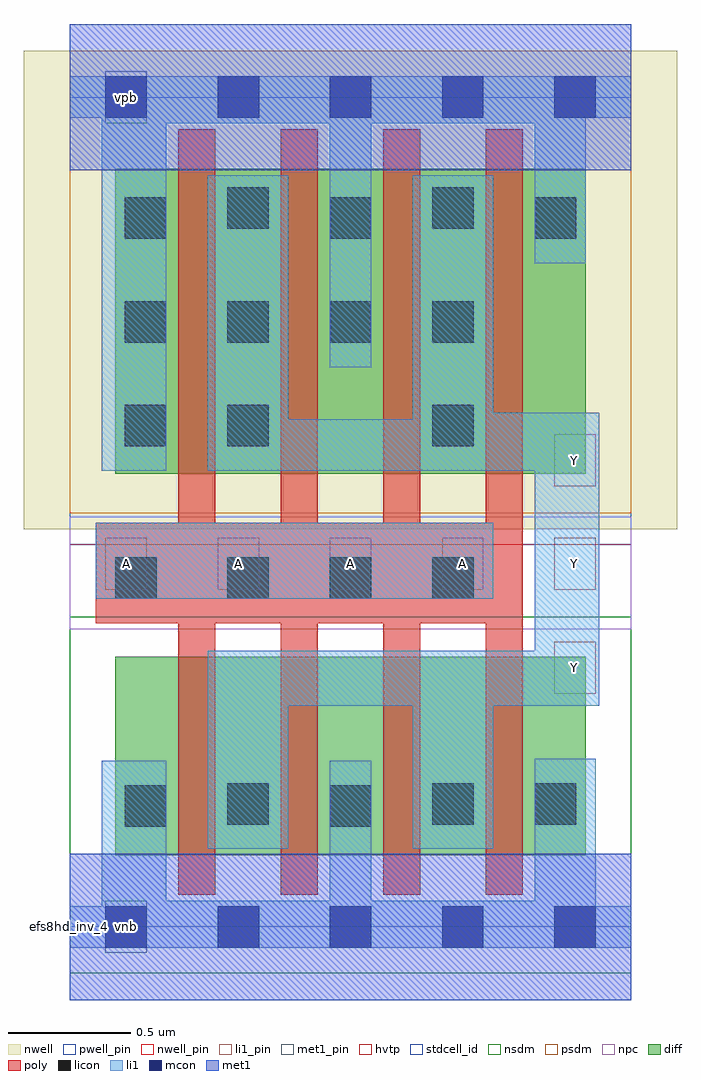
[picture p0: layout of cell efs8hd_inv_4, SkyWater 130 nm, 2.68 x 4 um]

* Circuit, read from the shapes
.subckt efs8hd_inv_4 A Y vgnd vnb vpb vpwr
XM1 Y A vgnd vnb sky130_fd_pr__nfet_01v8 w=0.812 l=0.15 m=4
XM2 Y A vpwr vpb sky130_fd_pr__pfet_01v8_hvt w=1.25 l=0.15 m=4
.ends

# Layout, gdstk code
import gdstk
lib = gdstk.Library(unit=1e-6, precision=1e-09)
def R(c, l, rs):  # rectangles x0, y0, x1, y1
    for r in rs: c.add(gdstk.rectangle(r[:2], r[2:], *l))
def A(c, l, x, y, w, h, nx, ny, dx, dy):  # array of equal rectangles
    R(c, l, [(x+i*dx, y+j*dy, x+i*dx+w, y+j*dy+h) for i in range(nx) for j in range(ny)])
def P(c, l, *ps):  # polygons
    for p in ps: c.add(gdstk.Polygon(p, *l))
nwell_pin = (64, 16)
nwell = (64, 20)
diff = (65, 20)
poly = (66, 20)
licon = (66, 44)
li1_pin = (67, 16)
li1 = (67, 20)
mcon = (67, 44)
met1_pin = (68, 16)
met1 = (68, 20)
hvtp = (78, 44)
stdcell_id = (81, 4)
nsdm = (93, 44)
psdm = (94, 20)
npc = (95, 20)
pwell_pin = (122, 16)

efs8hd_inv_4 = lib.new_cell('efs8hd_inv_4')
R(efs8hd_inv_4, nwell_pin, [(0.145,3.294,0.315,3.506)])
R(efs8hd_inv_4, nwell, [(-0.19,1.63,2.49,3.59)])
R(efs8hd_inv_4, diff, [(0.185,0.294,2.115,1.106), (0.185,1.856,2.115,3.106)])
P(efs8hd_inv_4, poly, [(1.705,3.269),(1.705,1.656),(1.435,1.656),(1.435,3.269),(1.285,3.269),(1.285,1.656),(1.015,1.656),(1.015,3.269),(0.865,3.269),(0.865,1.656),(0.595,1.656),(0.595,3.269),(0.445,3.269),(0.445,1.656),(0.105,1.656),(0.105,1.244),(0.445,1.244),(0.445,0.131),(0.595,0.131),(0.595,1.244),(0.865,1.244),(0.865,0.131),(1.015,0.131),(1.015,1.244),(1.285,1.244),(1.285,0.131),(1.435,0.131),(1.435,1.244),(1.705,1.244),(1.705,0.131),(1.855,0.131),(1.855,3.269)])
A(efs8hd_inv_4, licon, 0.645, 1.344, 0.17, 0.17, 3, 1, 0.42, 0)
A(efs8hd_inv_4, licon, 0.225, 2.394, 0.17, 0.17, 4, 1, 0.42, 0)
A(efs8hd_inv_4, licon, 0.225, 2.819, 0.17, 0.17, 3, 1, 0.84, 0)
R(efs8hd_inv_4, licon, [(0.225,0.411,0.395,0.581), (1.065,0.411,1.235,0.581), (1.905,0.418,2.075,0.588), (0.645,0.419,0.815,0.589), (1.485,0.419,1.655,0.589), (0.185,1.344,0.355,1.514), (0.225,1.969,0.395,2.139), (0.645,1.969,0.815,2.139), (1.485,1.969,1.655,2.139), (0.645,2.861,0.815,3.031), (1.485,2.861,1.655,3.031)])
A(efs8hd_inv_4, li1_pin, 0.145, 1.381, 0.17, 0.213, 5, 1, 0.46, 0)
R(efs8hd_inv_4, li1_pin, [(1.985,0.956,2.155,1.169), (1.985,1.806,2.155,2.019)])
R(efs8hd_inv_4, li1, [(0.105,1.344,1.735,1.656)])
P(efs8hd_inv_4, li1, [(1.905,0.688),(1.905,0.106),(1.235,0.106),(1.235,0.681),(1.065,0.681),(1.065,0.106),(0.395,0.106),(0.395,0.681),(0.13,0.681),(0.13,0.085),(0,0.085),(0,-0.085),(2.3,-0.085),(2.3,0.085),(2.155,0.085),(2.155,0.688)],
  [(1.405,3.081),(1.405,2.081),(0.895,2.081),(0.895,3.081),(0.565,3.081),(0.565,1.869),(1.905,1.869),(1.905,1.131),(0.565,1.131),(0.565,0.319),(0.895,0.319),(0.895,0.906),(1.405,0.906),(1.405,0.319),(1.735,0.319),(1.735,0.906),(2.17,0.906),(2.17,2.106),(1.735,2.106),(1.735,3.081)],
  [(0,3.485),(0,3.315),(0.13,3.315),(0.13,1.869),(0.395,1.869),(0.395,3.294),(1.065,3.294),(1.065,2.294),(1.235,2.294),(1.235,3.294),(1.905,3.294),(1.905,2.719),(2.115,2.719),(2.115,3.315),(2.3,3.315),(2.3,3.485)])
R(efs8hd_inv_4, mcon, [(0.145,-0.085,0.315,0.085), (0.145,-0.085,0.315,0.085), (0.145,-0.085,0.315,0.085), (0.145,-0.085,0.315,0.085), (0.145,-0.085,0.315,0.085), (0.145,-0.085,0.315,0.085), (0.145,-0.085,0.315,0.085), (0.145,-0.085,0.315,0.085), (0.145,-0.085,0.315,0.085), (0.145,-0.085,0.315,0.085), (0.145,-0.085,0.315,0.085), (0.145,-0.085,0.315,0.085), (0.145,-0.085,0.315,0.085), (0.145,-0.085,0.315,0.085), (0.145,-0.085,0.315,0.085), (0.145,-0.085,0.315,0.085), (0.145,-0.085,0.315,0.085), (0.145,-0.085,0.315,0.085), (0.145,-0.085,0.315,0.085), (0.145,-0.085,0.315,0.085), (0.145,-0.085,0.315,0.085), (0.145,-0.085,0.315,0.085), (0.145,-0.085,0.315,0.085), (0.145,-0.085,0.315,0.085), (0.145,-0.085,0.315,0.085), (0.145,-0.085,0.315,0.085), (0.145,-0.085,0.315,0.085), (0.145,-0.085,0.315,0.085), (0.145,-0.085,0.315,0.085), (0.145,-0.085,0.315,0.085), (0.145,-0.085,0.315,0.085), (0.145,-0.085,0.315,0.085), (0.145,-0.085,0.315,0.085), (0.145,-0.085,0.315,0.085), (0.145,-0.085,0.315,0.085), (0.145,-0.085,0.315,0.085), (0.145,-0.085,0.315,0.085), (0.145,-0.085,0.315,0.085), (0.145,-0.085,0.315,0.085), (0.145,-0.085,0.315,0.085), (0.145,-0.085,0.315,0.085), (0.145,-0.085,0.315,0.085), (0.145,-0.085,0.315,0.085), (0.145,-0.085,0.315,0.085), (0.145,-0.085,0.315,0.085), (0.145,-0.085,0.315,0.085), (0.145,-0.085,0.315,0.085), (0.145,-0.085,0.315,0.085), (0.145,-0.085,0.315,0.085), (0.145,-0.085,0.315,0.085), (0.145,-0.085,0.315,0.085), (0.145,-0.085,0.315,0.085), (0.145,-0.085,0.315,0.085), (0.145,-0.085,0.315,0.085), (0.145,-0.085,0.315,0.085), (0.145,-0.085,0.315,0.085), (0.145,-0.085,0.315,0.085), (0.145,-0.085,0.315,0.085), (0.145,-0.085,0.315,0.085), (0.145,-0.085,0.315,0.085), (0.145,-0.085,0.315,0.085), (0.145,-0.085,0.315,0.085), (0.145,-0.085,0.315,0.085), (0.145,-0.085,0.315,0.085), (0.145,-0.085,0.315,0.085), (0.145,-0.085,0.315,0.085), (0.145,-0.085,0.315,0.085), (0.145,-0.085,0.315,0.085), (0.145,-0.085,0.315,0.085), (0.145,-0.085,0.315,0.085), (0.145,-0.085,0.315,0.085), (0.145,-0.085,0.315,0.085), (0.145,-0.085,0.315,0.085), (0.145,-0.085,0.315,0.085), (0.145,-0.085,0.315,0.085), (0.145,-0.085,0.315,0.085), (0.145,-0.085,0.315,0.085), (0.145,-0.085,0.315,0.085), (0.145,-0.085,0.315,0.085), (0.145,-0.085,0.315,0.085), (0.145,-0.085,0.315,0.085), (0.145,-0.085,0.315,0.085), (0.145,-0.085,0.315,0.085), (0.145,-0.085,0.315,0.085), (0.145,-0.085,0.315,0.085), (0.145,-0.085,0.315,0.085), (0.145,-0.085,0.315,0.085), (0.145,-0.085,0.315,0.085), (0.145,-0.085,0.315,0.085), (0.145,-0.085,0.315,0.085), (0.145,-0.085,0.315,0.085), (0.145,-0.085,0.315,0.085), (0.145,-0.085,0.315,0.085), (0.145,-0.085,0.315,0.085), (0.145,-0.085,0.315,0.085), (0.145,-0.085,0.315,0.085), (0.145,-0.085,0.315,0.085), (0.145,-0.085,0.315,0.085), (0.145,-0.085,0.315,0.085), (0.145,-0.085,0.315,0.085), (0.145,-0.085,0.315,0.085), (0.145,-0.085,0.315,0.085), (0.145,-0.085,0.315,0.085), (0.145,-0.085,0.315,0.085), (0.145,-0.085,0.315,0.085), (0.145,-0.085,0.315,0.085), (0.145,-0.085,0.315,0.085), (0.145,-0.085,0.315,0.085), (0.145,-0.085,0.315,0.085), (0.605,-0.085,0.775,0.085), (0.605,-0.085,0.775,0.085), (0.605,-0.085,0.775,0.085), (0.605,-0.085,0.775,0.085), (0.605,-0.085,0.775,0.085), (0.605,-0.085,0.775,0.085), (0.605,-0.085,0.775,0.085), (0.605,-0.085,0.775,0.085), (0.605,-0.085,0.775,0.085), (0.605,-0.085,0.775,0.085), (0.605,-0.085,0.775,0.085), (0.605,-0.085,0.775,0.085), (0.605,-0.085,0.775,0.085), (0.605,-0.085,0.775,0.085), (0.605,-0.085,0.775,0.085), (0.605,-0.085,0.775,0.085), (0.605,-0.085,0.775,0.085), (0.605,-0.085,0.775,0.085), (0.605,-0.085,0.775,0.085), (0.605,-0.085,0.775,0.085), (0.605,-0.085,0.775,0.085), (0.605,-0.085,0.775,0.085), (0.605,-0.085,0.775,0.085), (0.605,-0.085,0.775,0.085), (0.605,-0.085,0.775,0.085), (0.605,-0.085,0.775,0.085), (0.605,-0.085,0.775,0.085), (0.605,-0.085,0.775,0.085), (0.605,-0.085,0.775,0.085), (0.605,-0.085,0.775,0.085), (0.605,-0.085,0.775,0.085), (0.605,-0.085,0.775,0.085), (0.605,-0.085,0.775,0.085), (0.605,-0.085,0.775,0.085), (0.605,-0.085,0.775,0.085), (0.605,-0.085,0.775,0.085), (0.605,-0.085,0.775,0.085), (0.605,-0.085,0.775,0.085), (0.605,-0.085,0.775,0.085), (0.605,-0.085,0.775,0.085), (0.605,-0.085,0.775,0.085), (0.605,-0.085,0.775,0.085), (0.605,-0.085,0.775,0.085), (0.605,-0.085,0.775,0.085), (0.605,-0.085,0.775,0.085), (0.605,-0.085,0.775,0.085), (0.605,-0.085,0.775,0.085), (0.605,-0.085,0.775,0.085), (0.605,-0.085,0.775,0.085), (0.605,-0.085,0.775,0.085), (0.605,-0.085,0.775,0.085), (0.605,-0.085,0.775,0.085), (0.605,-0.085,0.775,0.085), (0.605,-0.085,0.775,0.085), (0.605,-0.085,0.775,0.085), (0.605,-0.085,0.775,0.085), (0.605,-0.085,0.775,0.085), (0.605,-0.085,0.775,0.085), (0.605,-0.085,0.775,0.085), (0.605,-0.085,0.775,0.085), (0.605,-0.085,0.775,0.085), (0.605,-0.085,0.775,0.085), (0.605,-0.085,0.775,0.085), (0.605,-0.085,0.775,0.085), (0.605,-0.085,0.775,0.085), (0.605,-0.085,0.775,0.085), (0.605,-0.085,0.775,0.085), (0.605,-0.085,0.775,0.085), (0.605,-0.085,0.775,0.085), (0.605,-0.085,0.775,0.085), (0.605,-0.085,0.775,0.085), (0.605,-0.085,0.775,0.085), (0.605,-0.085,0.775,0.085), (0.605,-0.085,0.775,0.085), (0.605,-0.085,0.775,0.085), (0.605,-0.085,0.775,0.085), (0.605,-0.085,0.775,0.085), (0.605,-0.085,0.775,0.085), (0.605,-0.085,0.775,0.085), (0.605,-0.085,0.775,0.085), (0.605,-0.085,0.775,0.085), (0.605,-0.085,0.775,0.085), (0.605,-0.085,0.775,0.085), (0.605,-0.085,0.775,0.085), (0.605,-0.085,0.775,0.085), (0.605,-0.085,0.775,0.085), (0.605,-0.085,0.775,0.085), (0.605,-0.085,0.775,0.085), (0.605,-0.085,0.775,0.085), (0.605,-0.085,0.775,0.085), (0.605,-0.085,0.775,0.085), (0.605,-0.085,0.775,0.085), (0.605,-0.085,0.775,0.085), (0.605,-0.085,0.775,0.085), (0.605,-0.085,0.775,0.085), (0.605,-0.085,0.775,0.085), (0.605,-0.085,0.775,0.085), (0.605,-0.085,0.775,0.085), (0.605,-0.085,0.775,0.085), (0.605,-0.085,0.775,0.085), (0.605,-0.085,0.775,0.085), (0.605,-0.085,0.775,0.085), (0.605,-0.085,0.775,0.085), (0.605,-0.085,0.775,0.085), (0.605,-0.085,0.775,0.085), (0.605,-0.085,0.775,0.085), (0.605,-0.085,0.775,0.085), (0.605,-0.085,0.775,0.085), (0.605,-0.085,0.775,0.085), (1.065,-0.085,1.235,0.085), (1.065,-0.085,1.235,0.085), (1.065,-0.085,1.235,0.085), (1.065,-0.085,1.235,0.085), (1.065,-0.085,1.235,0.085), (1.065,-0.085,1.235,0.085), (1.065,-0.085,1.235,0.085), (1.065,-0.085,1.235,0.085), (1.065,-0.085,1.235,0.085), (1.065,-0.085,1.235,0.085), (1.065,-0.085,1.235,0.085), (1.065,-0.085,1.235,0.085), (1.065,-0.085,1.235,0.085), (1.065,-0.085,1.235,0.085), (1.065,-0.085,1.235,0.085), (1.065,-0.085,1.235,0.085), (1.065,-0.085,1.235,0.085), (1.065,-0.085,1.235,0.085), (1.065,-0.085,1.235,0.085), (1.065,-0.085,1.235,0.085), (1.065,-0.085,1.235,0.085), (1.065,-0.085,1.235,0.085), (1.065,-0.085,1.235,0.085), (1.065,-0.085,1.235,0.085), (1.065,-0.085,1.235,0.085), (1.065,-0.085,1.235,0.085), (1.065,-0.085,1.235,0.085), (1.065,-0.085,1.235,0.085), (1.065,-0.085,1.235,0.085), (1.065,-0.085,1.235,0.085), (1.065,-0.085,1.235,0.085), (1.065,-0.085,1.235,0.085), (1.065,-0.085,1.235,0.085), (1.065,-0.085,1.235,0.085), (1.065,-0.085,1.235,0.085), (1.065,-0.085,1.235,0.085), (1.065,-0.085,1.235,0.085), (1.065,-0.085,1.235,0.085), (1.065,-0.085,1.235,0.085), (1.065,-0.085,1.235,0.085), (1.065,-0.085,1.235,0.085), (1.065,-0.085,1.235,0.085), (1.065,-0.085,1.235,0.085), (1.065,-0.085,1.235,0.085), (1.065,-0.085,1.235,0.085), (1.065,-0.085,1.235,0.085), (1.065,-0.085,1.235,0.085), (1.065,-0.085,1.235,0.085), (1.065,-0.085,1.235,0.085), (1.065,-0.085,1.235,0.085), (1.065,-0.085,1.235,0.085), (1.065,-0.085,1.235,0.085), (1.065,-0.085,1.235,0.085), (1.065,-0.085,1.235,0.085), (1.065,-0.085,1.235,0.085), (1.065,-0.085,1.235,0.085), (1.065,-0.085,1.235,0.085), (1.065,-0.085,1.235,0.085), (1.065,-0.085,1.235,0.085), (1.065,-0.085,1.235,0.085), (1.065,-0.085,1.235,0.085), (1.065,-0.085,1.235,0.085), (1.065,-0.085,1.235,0.085), (1.065,-0.085,1.235,0.085), (1.065,-0.085,1.235,0.085), (1.065,-0.085,1.235,0.085), (1.065,-0.085,1.235,0.085), (1.065,-0.085,1.235,0.085), (1.065,-0.085,1.235,0.085), (1.065,-0.085,1.235,0.085), (1.065,-0.085,1.235,0.085), (1.065,-0.085,1.235,0.085), (1.065,-0.085,1.235,0.085), (1.065,-0.085,1.235,0.085), (1.065,-0.085,1.235,0.085), (1.065,-0.085,1.235,0.085), (1.065,-0.085,1.235,0.085), (1.065,-0.085,1.235,0.085), (1.065,-0.085,1.235,0.085), (1.065,-0.085,1.235,0.085), (1.065,-0.085,1.235,0.085), (1.065,-0.085,1.235,0.085), (1.065,-0.085,1.235,0.085), (1.065,-0.085,1.235,0.085), (1.065,-0.085,1.235,0.085), (1.065,-0.085,1.235,0.085), (1.065,-0.085,1.235,0.085), (1.065,-0.085,1.235,0.085), (1.065,-0.085,1.235,0.085), (1.065,-0.085,1.235,0.085), (1.065,-0.085,1.235,0.085), (1.065,-0.085,1.235,0.085), (1.065,-0.085,1.235,0.085), (1.065,-0.085,1.235,0.085), (1.065,-0.085,1.235,0.085), (1.065,-0.085,1.235,0.085), (1.065,-0.085,1.235,0.085), (1.065,-0.085,1.235,0.085), (1.065,-0.085,1.235,0.085), (1.065,-0.085,1.235,0.085), (1.065,-0.085,1.235,0.085), (1.065,-0.085,1.235,0.085), (1.065,-0.085,1.235,0.085), (1.065,-0.085,1.235,0.085), (1.065,-0.085,1.235,0.085), (1.065,-0.085,1.235,0.085), (1.065,-0.085,1.235,0.085), (1.065,-0.085,1.235,0.085), (1.065,-0.085,1.235,0.085), (1.525,-0.085,1.695,0.085), (1.525,-0.085,1.695,0.085), (1.525,-0.085,1.695,0.085), (1.525,-0.085,1.695,0.085), (1.525,-0.085,1.695,0.085), (1.525,-0.085,1.695,0.085), (1.525,-0.085,1.695,0.085), (1.525,-0.085,1.695,0.085), (1.525,-0.085,1.695,0.085), (1.525,-0.085,1.695,0.085), (1.525,-0.085,1.695,0.085), (1.525,-0.085,1.695,0.085), (1.525,-0.085,1.695,0.085), (1.525,-0.085,1.695,0.085), (1.525,-0.085,1.695,0.085), (1.525,-0.085,1.695,0.085), (1.525,-0.085,1.695,0.085), (1.525,-0.085,1.695,0.085), (1.525,-0.085,1.695,0.085), (1.525,-0.085,1.695,0.085), (1.525,-0.085,1.695,0.085), (1.525,-0.085,1.695,0.085), (1.525,-0.085,1.695,0.085), (1.525,-0.085,1.695,0.085), (1.525,-0.085,1.695,0.085), (1.525,-0.085,1.695,0.085), (1.525,-0.085,1.695,0.085), (1.525,-0.085,1.695,0.085), (1.525,-0.085,1.695,0.085), (1.525,-0.085,1.695,0.085), (1.525,-0.085,1.695,0.085), (1.525,-0.085,1.695,0.085), (1.525,-0.085,1.695,0.085), (1.525,-0.085,1.695,0.085), (1.525,-0.085,1.695,0.085), (1.525,-0.085,1.695,0.085), (1.525,-0.085,1.695,0.085), (1.525,-0.085,1.695,0.085), (1.525,-0.085,1.695,0.085), (1.525,-0.085,1.695,0.085), (1.525,-0.085,1.695,0.085), (1.525,-0.085,1.695,0.085), (1.525,-0.085,1.695,0.085), (1.525,-0.085,1.695,0.085), (1.525,-0.085,1.695,0.085), (1.525,-0.085,1.695,0.085), (1.525,-0.085,1.695,0.085), (1.525,-0.085,1.695,0.085), (1.525,-0.085,1.695,0.085), (1.525,-0.085,1.695,0.085), (1.525,-0.085,1.695,0.085), (1.525,-0.085,1.695,0.085), (1.525,-0.085,1.695,0.085), (1.525,-0.085,1.695,0.085), (1.525,-0.085,1.695,0.085), (1.525,-0.085,1.695,0.085), (1.525,-0.085,1.695,0.085), (1.525,-0.085,1.695,0.085), (1.525,-0.085,1.695,0.085), (1.525,-0.085,1.695,0.085), (1.525,-0.085,1.695,0.085), (1.525,-0.085,1.695,0.085), (1.525,-0.085,1.695,0.085), (1.525,-0.085,1.695,0.085), (1.525,-0.085,1.695,0.085), (1.525,-0.085,1.695,0.085), (1.525,-0.085,1.695,0.085), (1.525,-0.085,1.695,0.085), (1.525,-0.085,1.695,0.085), (1.525,-0.085,1.695,0.085), (1.525,-0.085,1.695,0.085), (1.525,-0.085,1.695,0.085), (1.525,-0.085,1.695,0.085), (1.525,-0.085,1.695,0.085), (1.525,-0.085,1.695,0.085), (1.525,-0.085,1.695,0.085), (1.525,-0.085,1.695,0.085), (1.525,-0.085,1.695,0.085), (1.525,-0.085,1.695,0.085), (1.525,-0.085,1.695,0.085), (1.525,-0.085,1.695,0.085), (1.525,-0.085,1.695,0.085), (1.525,-0.085,1.695,0.085), (1.525,-0.085,1.695,0.085), (1.525,-0.085,1.695,0.085), (1.525,-0.085,1.695,0.085), (1.525,-0.085,1.695,0.085), (1.525,-0.085,1.695,0.085), (1.525,-0.085,1.695,0.085), (1.525,-0.085,1.695,0.085), (1.525,-0.085,1.695,0.085), (1.525,-0.085,1.695,0.085), (1.525,-0.085,1.695,0.085), (1.525,-0.085,1.695,0.085), (1.525,-0.085,1.695,0.085), (1.525,-0.085,1.695,0.085), (1.525,-0.085,1.695,0.085), (1.525,-0.085,1.695,0.085), (1.525,-0.085,1.695,0.085), (1.525,-0.085,1.695,0.085), (1.525,-0.085,1.695,0.085), (1.525,-0.085,1.695,0.085), (1.525,-0.085,1.695,0.085), (1.525,-0.085,1.695,0.085), (1.525,-0.085,1.695,0.085), (1.525,-0.085,1.695,0.085), (1.525,-0.085,1.695,0.085), (1.525,-0.085,1.695,0.085), (1.525,-0.085,1.695,0.085), (1.985,-0.085,2.155,0.085), (1.985,-0.085,2.155,0.085), (1.985,-0.085,2.155,0.085), (1.985,-0.085,2.155,0.085), (1.985,-0.085,2.155,0.085), (1.985,-0.085,2.155,0.085), (1.985,-0.085,2.155,0.085), (1.985,-0.085,2.155,0.085), (1.985,-0.085,2.155,0.085), (1.985,-0.085,2.155,0.085), (1.985,-0.085,2.155,0.085), (1.985,-0.085,2.155,0.085), (1.985,-0.085,2.155,0.085), (1.985,-0.085,2.155,0.085), (1.985,-0.085,2.155,0.085), (1.985,-0.085,2.155,0.085), (1.985,-0.085,2.155,0.085), (1.985,-0.085,2.155,0.085), (1.985,-0.085,2.155,0.085), (1.985,-0.085,2.155,0.085), (1.985,-0.085,2.155,0.085), (1.985,-0.085,2.155,0.085), (1.985,-0.085,2.155,0.085), (1.985,-0.085,2.155,0.085), (1.985,-0.085,2.155,0.085), (1.985,-0.085,2.155,0.085), (1.985,-0.085,2.155,0.085), (1.985,-0.085,2.155,0.085), (1.985,-0.085,2.155,0.085), (1.985,-0.085,2.155,0.085), (1.985,-0.085,2.155,0.085), (1.985,-0.085,2.155,0.085), (1.985,-0.085,2.155,0.085), (1.985,-0.085,2.155,0.085), (1.985,-0.085,2.155,0.085), (1.985,-0.085,2.155,0.085), (1.985,-0.085,2.155,0.085), (1.985,-0.085,2.155,0.085), (1.985,-0.085,2.155,0.085), (1.985,-0.085,2.155,0.085), (1.985,-0.085,2.155,0.085), (1.985,-0.085,2.155,0.085), (1.985,-0.085,2.155,0.085), (1.985,-0.085,2.155,0.085), (1.985,-0.085,2.155,0.085), (1.985,-0.085,2.155,0.085), (1.985,-0.085,2.155,0.085), (1.985,-0.085,2.155,0.085), (1.985,-0.085,2.155,0.085), (1.985,-0.085,2.155,0.085), (1.985,-0.085,2.155,0.085), (1.985,-0.085,2.155,0.085), (1.985,-0.085,2.155,0.085), (1.985,-0.085,2.155,0.085), (1.985,-0.085,2.155,0.085), (1.985,-0.085,2.155,0.085), (1.985,-0.085,2.155,0.085), (1.985,-0.085,2.155,0.085), (1.985,-0.085,2.155,0.085), (1.985,-0.085,2.155,0.085), (1.985,-0.085,2.155,0.085), (1.985,-0.085,2.155,0.085), (1.985,-0.085,2.155,0.085), (1.985,-0.085,2.155,0.085), (1.985,-0.085,2.155,0.085), (1.985,-0.085,2.155,0.085), (1.985,-0.085,2.155,0.085), (1.985,-0.085,2.155,0.085), (1.985,-0.085,2.155,0.085), (1.985,-0.085,2.155,0.085), (1.985,-0.085,2.155,0.085), (1.985,-0.085,2.155,0.085), (1.985,-0.085,2.155,0.085), (1.985,-0.085,2.155,0.085), (1.985,-0.085,2.155,0.085), (1.985,-0.085,2.155,0.085), (1.985,-0.085,2.155,0.085), (1.985,-0.085,2.155,0.085), (1.985,-0.085,2.155,0.085), (1.985,-0.085,2.155,0.085), (1.985,-0.085,2.155,0.085), (1.985,-0.085,2.155,0.085), (1.985,-0.085,2.155,0.085), (1.985,-0.085,2.155,0.085), (1.985,-0.085,2.155,0.085), (1.985,-0.085,2.155,0.085), (1.985,-0.085,2.155,0.085), (1.985,-0.085,2.155,0.085), (1.985,-0.085,2.155,0.085), (1.985,-0.085,2.155,0.085), (1.985,-0.085,2.155,0.085), (1.985,-0.085,2.155,0.085), (1.985,-0.085,2.155,0.085), (1.985,-0.085,2.155,0.085), (1.985,-0.085,2.155,0.085), (1.985,-0.085,2.155,0.085), (1.985,-0.085,2.155,0.085), (1.985,-0.085,2.155,0.085), (1.985,-0.085,2.155,0.085), (1.985,-0.085,2.155,0.085), (1.985,-0.085,2.155,0.085), (1.985,-0.085,2.155,0.085), (1.985,-0.085,2.155,0.085), (1.985,-0.085,2.155,0.085), (1.985,-0.085,2.155,0.085), (1.985,-0.085,2.155,0.085), (1.985,-0.085,2.155,0.085), (1.985,-0.085,2.155,0.085), (1.985,-0.085,2.155,0.085), (0.145,3.315,0.315,3.485), (0.145,3.315,0.315,3.485), (0.145,3.315,0.315,3.485), (0.145,3.315,0.315,3.485), (0.145,3.315,0.315,3.485), (0.145,3.315,0.315,3.485), (0.145,3.315,0.315,3.485), (0.145,3.315,0.315,3.485), (0.145,3.315,0.315,3.485), (0.145,3.315,0.315,3.485), (0.145,3.315,0.315,3.485), (0.145,3.315,0.315,3.485), (0.145,3.315,0.315,3.485), (0.145,3.315,0.315,3.485), (0.145,3.315,0.315,3.485), (0.145,3.315,0.315,3.485), (0.145,3.315,0.315,3.485), (0.145,3.315,0.315,3.485), (0.145,3.315,0.315,3.485), (0.145,3.315,0.315,3.485), (0.145,3.315,0.315,3.485), (0.145,3.315,0.315,3.485), (0.145,3.315,0.315,3.485), (0.145,3.315,0.315,3.485), (0.145,3.315,0.315,3.485), (0.145,3.315,0.315,3.485), (0.145,3.315,0.315,3.485), (0.145,3.315,0.315,3.485), (0.145,3.315,0.315,3.485), (0.145,3.315,0.315,3.485), (0.145,3.315,0.315,3.485), (0.145,3.315,0.315,3.485), (0.145,3.315,0.315,3.485), (0.145,3.315,0.315,3.485), (0.145,3.315,0.315,3.485), (0.145,3.315,0.315,3.485), (0.145,3.315,0.315,3.485), (0.145,3.315,0.315,3.485), (0.145,3.315,0.315,3.485), (0.145,3.315,0.315,3.485), (0.145,3.315,0.315,3.485), (0.145,3.315,0.315,3.485), (0.145,3.315,0.315,3.485), (0.145,3.315,0.315,3.485), (0.145,3.315,0.315,3.485), (0.145,3.315,0.315,3.485), (0.145,3.315,0.315,3.485), (0.145,3.315,0.315,3.485), (0.145,3.315,0.315,3.485), (0.145,3.315,0.315,3.485), (0.145,3.315,0.315,3.485), (0.145,3.315,0.315,3.485), (0.145,3.315,0.315,3.485), (0.145,3.315,0.315,3.485), (0.145,3.315,0.315,3.485), (0.145,3.315,0.315,3.485), (0.145,3.315,0.315,3.485), (0.145,3.315,0.315,3.485), (0.145,3.315,0.315,3.485), (0.145,3.315,0.315,3.485), (0.145,3.315,0.315,3.485), (0.145,3.315,0.315,3.485), (0.145,3.315,0.315,3.485), (0.145,3.315,0.315,3.485), (0.145,3.315,0.315,3.485), (0.145,3.315,0.315,3.485), (0.145,3.315,0.315,3.485), (0.145,3.315,0.315,3.485), (0.145,3.315,0.315,3.485), (0.145,3.315,0.315,3.485), (0.145,3.315,0.315,3.485), (0.145,3.315,0.315,3.485), (0.145,3.315,0.315,3.485), (0.145,3.315,0.315,3.485), (0.145,3.315,0.315,3.485), (0.145,3.315,0.315,3.485), (0.145,3.315,0.315,3.485), (0.145,3.315,0.315,3.485), (0.145,3.315,0.315,3.485), (0.145,3.315,0.315,3.485), (0.145,3.315,0.315,3.485), (0.145,3.315,0.315,3.485), (0.145,3.315,0.315,3.485), (0.145,3.315,0.315,3.485), (0.145,3.315,0.315,3.485), (0.145,3.315,0.315,3.485), (0.145,3.315,0.315,3.485), (0.145,3.315,0.315,3.485), (0.145,3.315,0.315,3.485), (0.145,3.315,0.315,3.485), (0.145,3.315,0.315,3.485), (0.145,3.315,0.315,3.485), (0.145,3.315,0.315,3.485), (0.145,3.315,0.315,3.485), (0.145,3.315,0.315,3.485), (0.145,3.315,0.315,3.485), (0.145,3.315,0.315,3.485), (0.145,3.315,0.315,3.485), (0.145,3.315,0.315,3.485), (0.145,3.315,0.315,3.485), (0.145,3.315,0.315,3.485), (0.145,3.315,0.315,3.485), (0.145,3.315,0.315,3.485), (0.145,3.315,0.315,3.485), (0.145,3.315,0.315,3.485), (0.145,3.315,0.315,3.485), (0.145,3.315,0.315,3.485), (0.145,3.315,0.315,3.485), (0.145,3.315,0.315,3.485), (0.605,3.315,0.775,3.485), (0.605,3.315,0.775,3.485), (0.605,3.315,0.775,3.485), (0.605,3.315,0.775,3.485), (0.605,3.315,0.775,3.485), (0.605,3.315,0.775,3.485), (0.605,3.315,0.775,3.485), (0.605,3.315,0.775,3.485), (0.605,3.315,0.775,3.485), (0.605,3.315,0.775,3.485), (0.605,3.315,0.775,3.485), (0.605,3.315,0.775,3.485), (0.605,3.315,0.775,3.485), (0.605,3.315,0.775,3.485), (0.605,3.315,0.775,3.485), (0.605,3.315,0.775,3.485), (0.605,3.315,0.775,3.485), (0.605,3.315,0.775,3.485), (0.605,3.315,0.775,3.485), (0.605,3.315,0.775,3.485), (0.605,3.315,0.775,3.485), (0.605,3.315,0.775,3.485), (0.605,3.315,0.775,3.485), (0.605,3.315,0.775,3.485), (0.605,3.315,0.775,3.485), (0.605,3.315,0.775,3.485), (0.605,3.315,0.775,3.485), (0.605,3.315,0.775,3.485), (0.605,3.315,0.775,3.485), (0.605,3.315,0.775,3.485), (0.605,3.315,0.775,3.485), (0.605,3.315,0.775,3.485), (0.605,3.315,0.775,3.485), (0.605,3.315,0.775,3.485), (0.605,3.315,0.775,3.485), (0.605,3.315,0.775,3.485), (0.605,3.315,0.775,3.485), (0.605,3.315,0.775,3.485), (0.605,3.315,0.775,3.485), (0.605,3.315,0.775,3.485), (0.605,3.315,0.775,3.485), (0.605,3.315,0.775,3.485), (0.605,3.315,0.775,3.485), (0.605,3.315,0.775,3.485), (0.605,3.315,0.775,3.485), (0.605,3.315,0.775,3.485), (0.605,3.315,0.775,3.485), (0.605,3.315,0.775,3.485), (0.605,3.315,0.775,3.485), (0.605,3.315,0.775,3.485), (0.605,3.315,0.775,3.485), (0.605,3.315,0.775,3.485), (0.605,3.315,0.775,3.485), (0.605,3.315,0.775,3.485), (0.605,3.315,0.775,3.485), (0.605,3.315,0.775,3.485), (0.605,3.315,0.775,3.485), (0.605,3.315,0.775,3.485), (0.605,3.315,0.775,3.485), (0.605,3.315,0.775,3.485), (0.605,3.315,0.775,3.485), (0.605,3.315,0.775,3.485), (0.605,3.315,0.775,3.485), (0.605,3.315,0.775,3.485), (0.605,3.315,0.775,3.485), (0.605,3.315,0.775,3.485), (0.605,3.315,0.775,3.485), (0.605,3.315,0.775,3.485), (0.605,3.315,0.775,3.485), (0.605,3.315,0.775,3.485), (0.605,3.315,0.775,3.485), (0.605,3.315,0.775,3.485), (0.605,3.315,0.775,3.485), (0.605,3.315,0.775,3.485), (0.605,3.315,0.775,3.485), (0.605,3.315,0.775,3.485), (0.605,3.315,0.775,3.485), (0.605,3.315,0.775,3.485), (0.605,3.315,0.775,3.485), (0.605,3.315,0.775,3.485), (0.605,3.315,0.775,3.485), (0.605,3.315,0.775,3.485), (0.605,3.315,0.775,3.485), (0.605,3.315,0.775,3.485), (0.605,3.315,0.775,3.485), (0.605,3.315,0.775,3.485), (0.605,3.315,0.775,3.485), (0.605,3.315,0.775,3.485), (0.605,3.315,0.775,3.485), (0.605,3.315,0.775,3.485), (0.605,3.315,0.775,3.485), (0.605,3.315,0.775,3.485), (0.605,3.315,0.775,3.485), (0.605,3.315,0.775,3.485), (0.605,3.315,0.775,3.485), (0.605,3.315,0.775,3.485), (0.605,3.315,0.775,3.485), (0.605,3.315,0.775,3.485), (0.605,3.315,0.775,3.485), (0.605,3.315,0.775,3.485), (0.605,3.315,0.775,3.485), (0.605,3.315,0.775,3.485), (0.605,3.315,0.775,3.485), (0.605,3.315,0.775,3.485), (0.605,3.315,0.775,3.485), (0.605,3.315,0.775,3.485), (0.605,3.315,0.775,3.485), (0.605,3.315,0.775,3.485), (0.605,3.315,0.775,3.485), (1.065,3.315,1.235,3.485), (1.065,3.315,1.235,3.485), (1.065,3.315,1.235,3.485), (1.065,3.315,1.235,3.485), (1.065,3.315,1.235,3.485), (1.065,3.315,1.235,3.485), (1.065,3.315,1.235,3.485), (1.065,3.315,1.235,3.485), (1.065,3.315,1.235,3.485), (1.065,3.315,1.235,3.485), (1.065,3.315,1.235,3.485), (1.065,3.315,1.235,3.485), (1.065,3.315,1.235,3.485), (1.065,3.315,1.235,3.485), (1.065,3.315,1.235,3.485), (1.065,3.315,1.235,3.485), (1.065,3.315,1.235,3.485), (1.065,3.315,1.235,3.485), (1.065,3.315,1.235,3.485), (1.065,3.315,1.235,3.485), (1.065,3.315,1.235,3.485), (1.065,3.315,1.235,3.485), (1.065,3.315,1.235,3.485), (1.065,3.315,1.235,3.485), (1.065,3.315,1.235,3.485), (1.065,3.315,1.235,3.485), (1.065,3.315,1.235,3.485), (1.065,3.315,1.235,3.485), (1.065,3.315,1.235,3.485), (1.065,3.315,1.235,3.485), (1.065,3.315,1.235,3.485), (1.065,3.315,1.235,3.485), (1.065,3.315,1.235,3.485), (1.065,3.315,1.235,3.485), (1.065,3.315,1.235,3.485), (1.065,3.315,1.235,3.485), (1.065,3.315,1.235,3.485), (1.065,3.315,1.235,3.485), (1.065,3.315,1.235,3.485), (1.065,3.315,1.235,3.485), (1.065,3.315,1.235,3.485), (1.065,3.315,1.235,3.485), (1.065,3.315,1.235,3.485), (1.065,3.315,1.235,3.485), (1.065,3.315,1.235,3.485), (1.065,3.315,1.235,3.485), (1.065,3.315,1.235,3.485), (1.065,3.315,1.235,3.485), (1.065,3.315,1.235,3.485), (1.065,3.315,1.235,3.485), (1.065,3.315,1.235,3.485), (1.065,3.315,1.235,3.485), (1.065,3.315,1.235,3.485), (1.065,3.315,1.235,3.485), (1.065,3.315,1.235,3.485), (1.065,3.315,1.235,3.485), (1.065,3.315,1.235,3.485), (1.065,3.315,1.235,3.485), (1.065,3.315,1.235,3.485), (1.065,3.315,1.235,3.485), (1.065,3.315,1.235,3.485), (1.065,3.315,1.235,3.485), (1.065,3.315,1.235,3.485), (1.065,3.315,1.235,3.485), (1.065,3.315,1.235,3.485), (1.065,3.315,1.235,3.485), (1.065,3.315,1.235,3.485), (1.065,3.315,1.235,3.485), (1.065,3.315,1.235,3.485), (1.065,3.315,1.235,3.485), (1.065,3.315,1.235,3.485), (1.065,3.315,1.235,3.485), (1.065,3.315,1.235,3.485), (1.065,3.315,1.235,3.485), (1.065,3.315,1.235,3.485), (1.065,3.315,1.235,3.485), (1.065,3.315,1.235,3.485), (1.065,3.315,1.235,3.485), (1.065,3.315,1.235,3.485), (1.065,3.315,1.235,3.485), (1.065,3.315,1.235,3.485), (1.065,3.315,1.235,3.485), (1.065,3.315,1.235,3.485), (1.065,3.315,1.235,3.485), (1.065,3.315,1.235,3.485), (1.065,3.315,1.235,3.485), (1.065,3.315,1.235,3.485), (1.065,3.315,1.235,3.485), (1.065,3.315,1.235,3.485), (1.065,3.315,1.235,3.485), (1.065,3.315,1.235,3.485), (1.065,3.315,1.235,3.485), (1.065,3.315,1.235,3.485), (1.065,3.315,1.235,3.485), (1.065,3.315,1.235,3.485), (1.065,3.315,1.235,3.485), (1.065,3.315,1.235,3.485), (1.065,3.315,1.235,3.485), (1.065,3.315,1.235,3.485), (1.065,3.315,1.235,3.485), (1.065,3.315,1.235,3.485), (1.065,3.315,1.235,3.485), (1.065,3.315,1.235,3.485), (1.065,3.315,1.235,3.485), (1.065,3.315,1.235,3.485), (1.065,3.315,1.235,3.485), (1.065,3.315,1.235,3.485), (1.065,3.315,1.235,3.485), (1.065,3.315,1.235,3.485), (1.525,3.315,1.695,3.485), (1.525,3.315,1.695,3.485), (1.525,3.315,1.695,3.485), (1.525,3.315,1.695,3.485), (1.525,3.315,1.695,3.485), (1.525,3.315,1.695,3.485), (1.525,3.315,1.695,3.485), (1.525,3.315,1.695,3.485), (1.525,3.315,1.695,3.485), (1.525,3.315,1.695,3.485), (1.525,3.315,1.695,3.485), (1.525,3.315,1.695,3.485), (1.525,3.315,1.695,3.485), (1.525,3.315,1.695,3.485), (1.525,3.315,1.695,3.485), (1.525,3.315,1.695,3.485), (1.525,3.315,1.695,3.485), (1.525,3.315,1.695,3.485), (1.525,3.315,1.695,3.485), (1.525,3.315,1.695,3.485), (1.525,3.315,1.695,3.485), (1.525,3.315,1.695,3.485), (1.525,3.315,1.695,3.485), (1.525,3.315,1.695,3.485), (1.525,3.315,1.695,3.485), (1.525,3.315,1.695,3.485), (1.525,3.315,1.695,3.485), (1.525,3.315,1.695,3.485), (1.525,3.315,1.695,3.485), (1.525,3.315,1.695,3.485), (1.525,3.315,1.695,3.485), (1.525,3.315,1.695,3.485), (1.525,3.315,1.695,3.485), (1.525,3.315,1.695,3.485), (1.525,3.315,1.695,3.485), (1.525,3.315,1.695,3.485), (1.525,3.315,1.695,3.485), (1.525,3.315,1.695,3.485), (1.525,3.315,1.695,3.485), (1.525,3.315,1.695,3.485), (1.525,3.315,1.695,3.485), (1.525,3.315,1.695,3.485), (1.525,3.315,1.695,3.485), (1.525,3.315,1.695,3.485), (1.525,3.315,1.695,3.485), (1.525,3.315,1.695,3.485), (1.525,3.315,1.695,3.485), (1.525,3.315,1.695,3.485), (1.525,3.315,1.695,3.485), (1.525,3.315,1.695,3.485), (1.525,3.315,1.695,3.485), (1.525,3.315,1.695,3.485), (1.525,3.315,1.695,3.485), (1.525,3.315,1.695,3.485), (1.525,3.315,1.695,3.485), (1.525,3.315,1.695,3.485), (1.525,3.315,1.695,3.485), (1.525,3.315,1.695,3.485), (1.525,3.315,1.695,3.485), (1.525,3.315,1.695,3.485), (1.525,3.315,1.695,3.485), (1.525,3.315,1.695,3.485), (1.525,3.315,1.695,3.485), (1.525,3.315,1.695,3.485), (1.525,3.315,1.695,3.485), (1.525,3.315,1.695,3.485), (1.525,3.315,1.695,3.485), (1.525,3.315,1.695,3.485), (1.525,3.315,1.695,3.485), (1.525,3.315,1.695,3.485), (1.525,3.315,1.695,3.485), (1.525,3.315,1.695,3.485), (1.525,3.315,1.695,3.485), (1.525,3.315,1.695,3.485), (1.525,3.315,1.695,3.485), (1.525,3.315,1.695,3.485), (1.525,3.315,1.695,3.485), (1.525,3.315,1.695,3.485), (1.525,3.315,1.695,3.485), (1.525,3.315,1.695,3.485), (1.525,3.315,1.695,3.485), (1.525,3.315,1.695,3.485), (1.525,3.315,1.695,3.485), (1.525,3.315,1.695,3.485), (1.525,3.315,1.695,3.485), (1.525,3.315,1.695,3.485), (1.525,3.315,1.695,3.485), (1.525,3.315,1.695,3.485), (1.525,3.315,1.695,3.485), (1.525,3.315,1.695,3.485), (1.525,3.315,1.695,3.485), (1.525,3.315,1.695,3.485), (1.525,3.315,1.695,3.485), (1.525,3.315,1.695,3.485), (1.525,3.315,1.695,3.485), (1.525,3.315,1.695,3.485), (1.525,3.315,1.695,3.485), (1.525,3.315,1.695,3.485), (1.525,3.315,1.695,3.485), (1.525,3.315,1.695,3.485), (1.525,3.315,1.695,3.485), (1.525,3.315,1.695,3.485), (1.525,3.315,1.695,3.485), (1.525,3.315,1.695,3.485), (1.525,3.315,1.695,3.485), (1.525,3.315,1.695,3.485), (1.525,3.315,1.695,3.485), (1.525,3.315,1.695,3.485), (1.525,3.315,1.695,3.485), (1.985,3.315,2.155,3.485), (1.985,3.315,2.155,3.485), (1.985,3.315,2.155,3.485), (1.985,3.315,2.155,3.485), (1.985,3.315,2.155,3.485), (1.985,3.315,2.155,3.485), (1.985,3.315,2.155,3.485), (1.985,3.315,2.155,3.485), (1.985,3.315,2.155,3.485), (1.985,3.315,2.155,3.485), (1.985,3.315,2.155,3.485), (1.985,3.315,2.155,3.485), (1.985,3.315,2.155,3.485), (1.985,3.315,2.155,3.485), (1.985,3.315,2.155,3.485), (1.985,3.315,2.155,3.485), (1.985,3.315,2.155,3.485), (1.985,3.315,2.155,3.485), (1.985,3.315,2.155,3.485), (1.985,3.315,2.155,3.485), (1.985,3.315,2.155,3.485), (1.985,3.315,2.155,3.485), (1.985,3.315,2.155,3.485), (1.985,3.315,2.155,3.485), (1.985,3.315,2.155,3.485), (1.985,3.315,2.155,3.485), (1.985,3.315,2.155,3.485), (1.985,3.315,2.155,3.485), (1.985,3.315,2.155,3.485), (1.985,3.315,2.155,3.485), (1.985,3.315,2.155,3.485), (1.985,3.315,2.155,3.485), (1.985,3.315,2.155,3.485), (1.985,3.315,2.155,3.485), (1.985,3.315,2.155,3.485), (1.985,3.315,2.155,3.485), (1.985,3.315,2.155,3.485), (1.985,3.315,2.155,3.485), (1.985,3.315,2.155,3.485), (1.985,3.315,2.155,3.485), (1.985,3.315,2.155,3.485), (1.985,3.315,2.155,3.485), (1.985,3.315,2.155,3.485), (1.985,3.315,2.155,3.485), (1.985,3.315,2.155,3.485), (1.985,3.315,2.155,3.485), (1.985,3.315,2.155,3.485), (1.985,3.315,2.155,3.485), (1.985,3.315,2.155,3.485), (1.985,3.315,2.155,3.485), (1.985,3.315,2.155,3.485), (1.985,3.315,2.155,3.485), (1.985,3.315,2.155,3.485), (1.985,3.315,2.155,3.485), (1.985,3.315,2.155,3.485), (1.985,3.315,2.155,3.485), (1.985,3.315,2.155,3.485), (1.985,3.315,2.155,3.485), (1.985,3.315,2.155,3.485), (1.985,3.315,2.155,3.485), (1.985,3.315,2.155,3.485), (1.985,3.315,2.155,3.485), (1.985,3.315,2.155,3.485), (1.985,3.315,2.155,3.485), (1.985,3.315,2.155,3.485), (1.985,3.315,2.155,3.485), (1.985,3.315,2.155,3.485), (1.985,3.315,2.155,3.485), (1.985,3.315,2.155,3.485), (1.985,3.315,2.155,3.485), (1.985,3.315,2.155,3.485), (1.985,3.315,2.155,3.485), (1.985,3.315,2.155,3.485), (1.985,3.315,2.155,3.485), (1.985,3.315,2.155,3.485), (1.985,3.315,2.155,3.485), (1.985,3.315,2.155,3.485), (1.985,3.315,2.155,3.485), (1.985,3.315,2.155,3.485), (1.985,3.315,2.155,3.485), (1.985,3.315,2.155,3.485), (1.985,3.315,2.155,3.485), (1.985,3.315,2.155,3.485), (1.985,3.315,2.155,3.485), (1.985,3.315,2.155,3.485), (1.985,3.315,2.155,3.485), (1.985,3.315,2.155,3.485), (1.985,3.315,2.155,3.485), (1.985,3.315,2.155,3.485), (1.985,3.315,2.155,3.485), (1.985,3.315,2.155,3.485), (1.985,3.315,2.155,3.485), (1.985,3.315,2.155,3.485), (1.985,3.315,2.155,3.485), (1.985,3.315,2.155,3.485), (1.985,3.315,2.155,3.485), (1.985,3.315,2.155,3.485), (1.985,3.315,2.155,3.485), (1.985,3.315,2.155,3.485), (1.985,3.315,2.155,3.485), (1.985,3.315,2.155,3.485), (1.985,3.315,2.155,3.485), (1.985,3.315,2.155,3.485), (1.985,3.315,2.155,3.485), (1.985,3.315,2.155,3.485), (1.985,3.315,2.155,3.485), (1.985,3.315,2.155,3.485), (1.985,3.315,2.155,3.485), (1.985,3.315,2.155,3.485)])
R(efs8hd_inv_4, met1_pin, [(0.145,-0.106,0.315,0.106), (0.145,3.294,0.315,3.506)])
R(efs8hd_inv_4, met1, [(0,-0.3,2.3,0.3), (0,3.1,2.3,3.7)])
R(efs8hd_inv_4, hvtp, [(0,1.565,2.3,3.4)])
R(efs8hd_inv_4, stdcell_id, [(0,0,2.3,3.4)])
R(efs8hd_inv_4, nsdm, [(0,-0.19,2.3,1.27)])
R(efs8hd_inv_4, psdm, [(0,1.695,2.3,3.59)])
R(efs8hd_inv_4, npc, [(0,1.22,2.3,1.68)])
R(efs8hd_inv_4, pwell_pin, [(0.145,-0.106,0.315,0.106)])
efs8hd_inv_4.add(gdstk.Label('vnb', (0.23,0), layer=64, texttype=59))
efs8hd_inv_4.add(gdstk.Label('efs8hd_inv_4', (0,0), layer=83, texttype=44))
efs8hd_inv_4.add(gdstk.Label('vpb', (0.23,3.4), layer=64, texttype=5))
efs8hd_inv_4.add(gdstk.Label('Y', (2.07,1.063), layer=67, texttype=5))
efs8hd_inv_4.add(gdstk.Label('A', (0.23,1.488), layer=67, texttype=5))
efs8hd_inv_4.add(gdstk.Label('A', (0.69,1.488), layer=67, texttype=5))
efs8hd_inv_4.add(gdstk.Label('A', (1.15,1.488), layer=67, texttype=5))
efs8hd_inv_4.add(gdstk.Label('A', (1.61,1.488), layer=67, texttype=5))
efs8hd_inv_4.add(gdstk.Label('Y', (2.07,1.488), layer=67, texttype=5))
efs8hd_inv_4.add(gdstk.Label('Y', (2.07,1.913), layer=67, texttype=5))
efs8hd_inv_4.add(gdstk.Label('vgnd', (0.23,0), layer=68, texttype=5))
efs8hd_inv_4.add(gdstk.Label('vpwr', (0.23,3.4), layer=68, texttype=5))

lib.write_gds('efs8hd_inv_4.gds')
